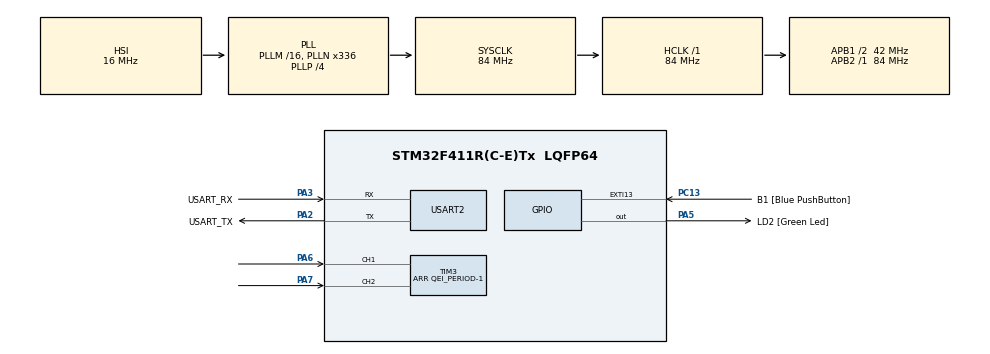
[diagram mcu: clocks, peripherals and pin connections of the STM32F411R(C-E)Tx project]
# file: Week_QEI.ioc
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Mcu.Family=STM32F4
Mcu.Name=STM32F411R(C-E)Tx
Mcu.Package=LQFP64
Mcu.UserConstants=QEI_PERIOD,64512
NVIC.PriorityGroup=NVIC_PRIORITYGROUP_0
NVIC.TIM5_IRQn=true\:0\:0\:false\:false\:true\:true\:true\:true
PA13.GPIO_Label=TMS
PA13.Mode=Trace_Asynchronous_SW
PA13.Signal=SYS_JTMS-SWDIO
PA14.GPIO_Label=TCK
PA14.Mode=Trace_Asynchronous_SW
PA14.Signal=SYS_JTCK-SWCLK
PA2.GPIO_Label=USART_TX
PA2.Mode=Asynchronous
PA2.Signal=USART2_TX
PA3.GPIO_Label=USART_RX
PA3.Mode=Asynchronous
PA3.Signal=USART2_RX
PA5.GPIO_Label=LD2 [Green Led]
PA5.Signal=GPIO_Output
PA6.Signal=S_TIM3_CH1
PA7.Signal=S_TIM3_CH2
PB3.GPIO_Label=SWO
PB3.Mode=Trace_Asynchronous_SW
PB3.Signal=SYS_JTDO-SWO
PC13-ANTI_TAMP.GPIO_Label=B1 [Blue PushButton]
PC13-ANTI_TAMP.GPIO_ModeDefaultEXTI=GPIO_MODE_IT_FALLING
PC13-ANTI_TAMP.Signal=GPXTI13
PC14-OSC32_IN.Mode=LSE-External-Oscillator
PC14-OSC32_IN.Signal=RCC_OSC32_IN
PC15-OSC32_OUT.Mode=LSE-External-Oscillator
PC15-OSC32_OUT.Signal=RCC_OSC32_OUT
PH0\ -\ OSC_IN.Mode=HSE-External-Clock-Source
PH0\ -\ OSC_IN.Signal=RCC_OSC_IN
PH1\ -\ OSC_OUT.Mode=HSE-External-Clock-Source
PH1\ -\ OSC_OUT.Signal=RCC_OSC_OUT
ProjectManager.HeapSize=0x200
ProjectManager.StackSize=0x400
ProjectManager.TargetToolchain=STM32CubeIDE
RCC.48MHZClocksFreq_Value=84000000
RCC.AHBFreq_Value=84000000
RCC.APB1CLKDivider=RCC_HCLK_DIV2
RCC.APB1Freq_Value=42000000
RCC.APB1TimFreq_Value=84000000
RCC.APB2Freq_Value=84000000
RCC.APB2TimFreq_Value=84000000
RCC.CortexFreq_Value=84000000
RCC.FLatency-AdvancedSettings=FLASH_LATENCY_2
RCC.HCLKFreq_Value=84000000
RCC.HSE_VALUE=8000000
RCC.HSI_VALUE=16000000
RCC.PLLN=336
RCC.PLLP=RCC_PLLP_DIV4
RCC.SYSCLKFreq_VALUE=84000000
RCC.SYSCLKSource=RCC_SYSCLKSOURCE_PLLCLK
RCC.VCOOutputFreq_Value=336000000
SH.S_TIM3_CH1.0=TIM3_CH1,Encoder_Interface
SH.S_TIM3_CH2.0=TIM3_CH2,Encoder_Interface
TIM3.EncoderMode=TIM_ENCODERMODE_TI12
TIM3.Period=QEI_PERIOD-1
TIM5.Prescaler=83
USART2.VirtualMode=VM_ASYNC
VP_TIM5_VS_ClockSourceINT.Mode=Internal
board=NUCLEO-F411RE

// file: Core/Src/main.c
/* USER CODE BEGIN Header */
/**
  ******************************************************************************
  * @file           : main.c
  * @brief          : Main program body
  ******************************************************************************
  * @attention
  *
  * Copyright (c) 2023 STMicroelectronics.
  * All rights reserved.
  *
  * This software is licensed under terms that can be found in the LICENSE file
  * in the root directory of this software component.
  * If no LICENSE file comes with this software, it is provided AS-IS.
  *
  ******************************************************************************
  */
/* USER CODE END Header */
#include "main.h"

TIM_HandleTypeDef htim3;
TIM_HandleTypeDef htim5;

UART_HandleTypeDef huart2;

/* USER CODE BEGIN PV */
uint32_t QEIReadRaw;
typedef struct _QEIStructure{
uint32_t data[2]; //Position data container
uint64_t timestamp[2];

float QEIPosition; //step
float QEIVelocity //step/sec
}QEIStructureTypedef;
QEIStructureTypedef QEIData = {0};

uint64_t _micros = 0;

/* USER CODE END PV */

void SystemClock_Config(void);
static void MX_GPIO_Init(void);
static void MX_USART2_UART_Init(void);
static void MX_TIM3_Init(void);
static void MX_TIM5_Init(void);
/* USER CODE BEGIN PFP */
inline uint64_t micros();
void QEIEndcoderPositionVelocity_Update();
/* USER CODE END PFP */

int main(void)
{

  /* MCU Configuration--------------------------------------------------------*/

  /* Reset of all peripherals, Initializes the Flash interface and the Systick. */
  HAL_Init();

  /* Configure the system clock */
  SystemClock_Config();

  /* Initialize all configured peripherals */
  MX_GPIO_Init();
  MX_USART2_UART_Init();
  MX_TIM3_Init();
  MX_TIM5_Init();
  /* USER CODE BEGIN 2 */
  	HAL_TIM_Encoder_Start(&htim3, TIM_CHANNEL_1|TIM_CHANNEL_2);
  	HAL_TIM_Base_Start(&htim5);
   // Start TIM_CHANNEL_1|TIM_CHANNEL_2  using "|" between CH1 and CH2

  /* USER CODE END 2 */

  /* Infinite loop */
  while (1)
  {

    /* USER CODE BEGIN 3 */
	  // read encoder QEI TIM 3
//	  QEIReadRaw = __HAL_TIM_GET_COUNTER(&htim3);
//	  QEIReadRaw = QEIReadRaw/3072 * 360;
	  static uint32_t timestamp = 0;
	  int64_t currentTime = micros();
	  if(currentTime > timestamp){
		  timestamp = currentTime + 10000;
		  QEIEndcoderPositionVelocity_Update();
	  }
//	  if(HAL_GetTick()>timestamp){
//		  timestamp = HAL_GetTick() + 500;
//		  QEIReadRaw = __HAL_TIM_GET_COUNTER(&htim3);
//		  QEIReadRaw = QEIReadRaw/3072.0 * 360.0;
//		  printf("Position = %ld\n",QEIReadRaw);
//	  }
  }
  /* USER CODE END 3 */
}

void SystemClock_Config(void)
{
  RCC_OscInitTypeDef RCC_OscInitStruct = {0};
  RCC_ClkInitTypeDef RCC_ClkInitStruct = {0};

  /** Configure the main internal regulator output voltage
  */
  __HAL_RCC_PWR_CLK_ENABLE();
  __HAL_PWR_VOLTAGESCALING_CONFIG(PWR_REGULATOR_VOLTAGE_SCALE1);

  /** Initializes the RCC Oscillators according to the specified parameters
  * in the RCC_OscInitTypeDef structure.
  */
  RCC_OscInitStruct.OscillatorType = RCC_OSCILLATORTYPE_HSI;
  RCC_OscInitStruct.HSIState = RCC_HSI_ON;
  RCC_OscInitStruct.HSICalibrationValue = RCC_HSICALIBRATION_DEFAULT;
  RCC_OscInitStruct.PLL.PLLState = RCC_PLL_ON;
  RCC_OscInitStruct.PLL.PLLSource = RCC_PLLSOURCE_HSI;
  RCC_OscInitStruct.PLL.PLLM = 16;
  RCC_OscInitStruct.PLL.PLLN = 336;
  RCC_OscInitStruct.PLL.PLLP = RCC_PLLP_DIV4;
  RCC_OscInitStruct.PLL.PLLQ = 4;
  if (HAL_RCC_OscConfig(&RCC_OscInitStruct) != HAL_OK)
  {
    Error_Handler();
  }

  /** Initializes the CPU, AHB and APB buses clocks
  */
  RCC_ClkInitStruct.ClockType = RCC_CLOCKTYPE_HCLK|RCC_CLOCKTYPE_SYSCLK
                              |RCC_CLOCKTYPE_PCLK1|RCC_CLOCKTYPE_PCLK2;
  RCC_ClkInitStruct.SYSCLKSource = RCC_SYSCLKSOURCE_PLLCLK;
  RCC_ClkInitStruct.AHBCLKDivider = RCC_SYSCLK_DIV1;
  RCC_ClkInitStruct.APB1CLKDivider = RCC_HCLK_DIV2;
  RCC_ClkInitStruct.APB2CLKDivider = RCC_HCLK_DIV1;

  if (HAL_RCC_ClockConfig(&RCC_ClkInitStruct, FLASH_LATENCY_2) != HAL_OK)
  {
    Error_Handler();
  }
}

static void MX_TIM3_Init(void)
{

  TIM_Encoder_InitTypeDef sConfig = {0};
  TIM_MasterConfigTypeDef sMasterConfig = {0};

  htim3.Instance = TIM3;
  htim3.Init.Prescaler = 0;
  htim3.Init.CounterMode = TIM_COUNTERMODE_UP;
  htim3.Init.Period = QEI_PERIOD-1;
  htim3.Init.ClockDivision = TIM_CLOCKDIVISION_DIV1;
  htim3.Init.AutoReloadPreload = TIM_AUTORELOAD_PRELOAD_DISABLE;
  sConfig.EncoderMode = TIM_ENCODERMODE_TI12;
  sConfig.IC1Polarity = TIM_ICPOLARITY_RISING;
  sConfig.IC1Selection = TIM_ICSELECTION_DIRECTTI;
  sConfig.IC1Prescaler = TIM_ICPSC_DIV1;
  sConfig.IC1Filter = 0;
  sConfig.IC2Polarity = TIM_ICPOLARITY_RISING;
  sConfig.IC2Selection = TIM_ICSELECTION_DIRECTTI;
  sConfig.IC2Prescaler = TIM_ICPSC_DIV1;
  sConfig.IC2Filter = 0;
  if (HAL_TIM_Encoder_Init(&htim3, &sConfig) != HAL_OK)
  {
    Error_Handler();
  }
  sMasterConfig.MasterOutputTrigger = TIM_TRGO_RESET;
  sMasterConfig.MasterSlaveMode = TIM_MASTERSLAVEMODE_DISABLE;
  if (HAL_TIMEx_MasterConfigSynchronization(&htim3, &sMasterConfig) != HAL_OK)
  {
    Error_Handler();
  }

}

static void MX_TIM5_Init(void)
{

  TIM_ClockConfigTypeDef sClockSourceConfig = {0};
  TIM_MasterConfigTypeDef sMasterConfig = {0};

  htim5.Instance = TIM5;
  htim5.Init.Prescaler = 83;
  htim5.Init.CounterMode = TIM_COUNTERMODE_UP;
  htim5.Init.Period = 4294967295;
  htim5.Init.ClockDivision = TIM_CLOCKDIVISION_DIV1;
  htim5.Init.AutoReloadPreload = TIM_AUTORELOAD_PRELOAD_DISABLE;
  if (HAL_TIM_Base_Init(&htim5) != HAL_OK)
  {
    Error_Handler();
  }
  sClockSourceConfig.ClockSource = TIM_CLOCKSOURCE_INTERNAL;
  if (HAL_TIM_ConfigClockSource(&htim5, &sClockSourceConfig) != HAL_OK)
  {
    Error_Handler();
  }
  sMasterConfig.MasterOutputTrigger = TIM_TRGO_RESET;
  sMasterConfig.MasterSlaveMode = TIM_MASTERSLAVEMODE_DISABLE;
  if (HAL_TIMEx_MasterConfigSynchronization(&htim5, &sMasterConfig) != HAL_OK)
  {
    Error_Handler();
  }

}

static void MX_USART2_UART_Init(void)
{

  huart2.Instance = USART2;
  huart2.Init.BaudRate = 115200;
  huart2.Init.WordLength = UART_WORDLENGTH_8B;
  huart2.Init.StopBits = UART_STOPBITS_1;
  huart2.Init.Parity = UART_PARITY_NONE;
  huart2.Init.Mode = UART_MODE_TX_RX;
  huart2.Init.HwFlowCtl = UART_HWCONTROL_NONE;
  huart2.Init.OverSampling = UART_OVERSAMPLING_16;
  if (HAL_UART_Init(&huart2) != HAL_OK)
  {
    Error_Handler();
  }

}

static void MX_GPIO_Init(void)
{
  GPIO_InitTypeDef GPIO_InitStruct = {0};

  /* GPIO Ports Clock Enable */
  __HAL_RCC_GPIOC_CLK_ENABLE();
  __HAL_RCC_GPIOH_CLK_ENABLE();
  __HAL_RCC_GPIOA_CLK_ENABLE();
  __HAL_RCC_GPIOB_CLK_ENABLE();

  /*Configure GPIO pin Output Level */
  HAL_GPIO_WritePin(LD2_GPIO_Port, LD2_Pin, GPIO_PIN_RESET);

  /*Configure GPIO pin : B1_Pin */
  GPIO_InitStruct.Pin = B1_Pin;
  GPIO_InitStruct.Mode = GPIO_MODE_IT_FALLING;
  GPIO_InitStruct.Pull = GPIO_NOPULL;
  HAL_GPIO_Init(B1_GPIO_Port, &GPIO_InitStruct);

  /*Configure GPIO pin : LD2_Pin */
  GPIO_InitStruct.Pin = LD2_Pin;
  GPIO_InitStruct.Mode = GPIO_MODE_OUTPUT_PP;
  GPIO_InitStruct.Pull = GPIO_NOPULL;
  GPIO_InitStruct.Speed = GPIO_SPEED_FREQ_LOW;
  HAL_GPIO_Init(LD2_GPIO_Port, &GPIO_InitStruct);

}

/* USER CODE BEGIN 4 */
void QEIEndcoderPositionVelocity_Update(){
	//collect data
	QEIData.timestamp[0] = micros();
	uint32_t counterPosition = __HAL_TIM_GET_COUNTER(&htim3);
	QEIData.data[0] = counterPosition ;

	//calculation
	QEIData.QEIPosition = counterPosition % 3072;

	int32_t diffPosition = QEIData.data[0] - QEIData.data[1];
	float difftime = (QEIData.timestamp[0] - QEIData.timestamp[1]);
	//handle wrap-around
	if(diffPosition > QEI_PERIOD >> 1) diffPosition -= QEI_PERIOD;
	if(diffPosition < -(QEI_PERIOD >> 1)) diffPosition += QEI_PERIOD;

	//calculate angular velocity in pulse per sec
	QEIData.QEIVelocity = (diffPosition * 100000)/difftime;

	QEIData.data[1] = QEIData.data[0];
	QEIData.timestamp[1] = QEIData.timestamp[0];
}
int _write(int file,char *ptr,int len){
	int i;
	for (i = 0;i<len;i++){
		ITM_SendChar(*ptr++);
	}
	return len;
}
void HAL_TIM_PeriodElapsedCallback(TIM_HandleTypeDef *htim)
{
	if(htim == &htim5){
		_micros += UINT32_MAX;

	}
}
uint64_t micros(){
	return __HAL_TIM_GET_COUNTER(&htim5)+_micros;
}
/* USER CODE END 4 */

void Error_Handler(void)
{
  __disable_irq();
  while (1)
  {
  }
}
